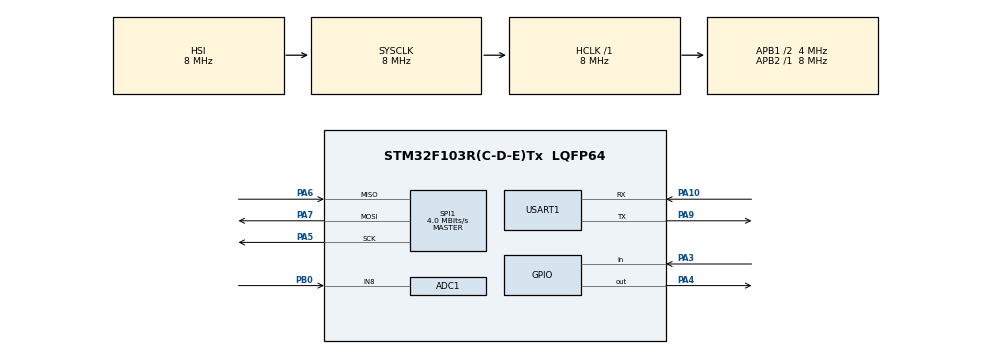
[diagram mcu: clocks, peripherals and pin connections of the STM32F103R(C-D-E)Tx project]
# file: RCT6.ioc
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ADC1.Channel-0\#ChannelRegularConversion=ADC_CHANNEL_8
ADC1.NbrOfConversionFlag=1
ADC1.Rank-0\#ChannelRegularConversion=1
ADC1.SamplingTime-0\#ChannelRegularConversion=ADC_SAMPLETIME_1CYCLE_5
ADC1.master=1
Mcu.Family=STM32F1
Mcu.Name=STM32F103R(C-D-E)Tx
Mcu.Package=LQFP64
NVIC.PriorityGroup=NVIC_PRIORITYGROUP_4
NVIC.SPI1_IRQn=true\:0\:0\:false\:false\:true\:true
PA10.Mode=Asynchronous
PA10.Signal=USART1_RX
PA13.Mode=Serial_Wire
PA13.Signal=SYS_JTMS-SWDIO
PA14.Mode=Serial_Wire
PA14.Signal=SYS_JTCK-SWCLK
PA3.GPIO_PuPd=GPIO_PULLUP
PA3.Signal=GPIO_Input
PA4.Signal=GPIO_Output
PA5.Mode=Full_Duplex_Master
PA5.Signal=SPI1_SCK
PA6.Mode=Full_Duplex_Master
PA6.Signal=SPI1_MISO
PA7.Mode=Full_Duplex_Master
PA7.Signal=SPI1_MOSI
PA9.Mode=Asynchronous
PA9.Signal=USART1_TX
PB0.Signal=ADCx_IN8
ProjectManager.HeapSize=0x200
ProjectManager.StackSize=0x400
ProjectManager.TargetToolchain=EWARM
RCC.ADCPresc=RCC_ADCPCLK2_DIV8
RCC.AHBFreq_Value=8000000
RCC.APB1CLKDivider=RCC_HCLK_DIV2
RCC.APB1Freq_Value=4000000
RCC.APB1TimFreq_Value=8000000
RCC.APB2Freq_Value=8000000
RCC.APB2TimFreq_Value=8000000
RCC.HCLKFreq_Value=8000000
RCC.PLLMUL=RCC_PLL_MUL16
RCC.SYSCLKFreq_VALUE=8000000
RCC.USBFreq_Value=64000000
SH.ADCx_IN8.0=ADC1_IN8,IN8
SPI1.BaudRatePrescaler=SPI_BAUDRATEPRESCALER_2
SPI1.CLKPhase=SPI_PHASE_2EDGE
SPI1.CLKPolarity=SPI_POLARITY_HIGH
SPI1.CalculateBaudRate=4.0 MBits/s
SPI1.Direction=SPI_DIRECTION_2LINES
SPI1.Mode=SPI_MODE_MASTER
SPI1.VirtualType=VM_MASTER
USART1.VirtualMode=VM_ASYNC
board=custom

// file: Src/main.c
/**
  ******************************************************************************
  * @file           : main.c
  * @brief          : Main program body
  ******************************************************************************
  ** This notice applies to any and all portions of this file
  * that are not between comment pairs USER CODE BEGIN and
  * USER CODE END. Other portions of this file, whether
  * inserted by the user or by software development tools
  * are owned by their respective copyright owners.
  *
  * COPYRIGHT(c) 2018 STMicroelectronics
  *
  * Redistribution and use in source and binary forms, with or without modification,
  * are permitted provided that the following conditions are met:
  *   1. Redistributions of source code must retain the above copyright notice,
  *      this list of conditions and the following disclaimer.
  *   2. Redistributions in binary form must reproduce the above copyright notice,
  *      this list of conditions and the following disclaimer in the documentation
  *      and/or other materials provided with the distribution.
  *   3. Neither the name of STMicroelectronics nor the names of its contributors
  *      may be used to endorse or promote products derived from this software
  *      without specific prior written permission.
  *
  * THIS SOFTWARE IS PROVIDED BY THE COPYRIGHT HOLDERS AND CONTRIBUTORS "AS IS"
  * AND ANY EXPRESS OR IMPLIED WARRANTIES, INCLUDING, BUT NOT LIMITED TO, THE
  * IMPLIED WARRANTIES OF MERCHANTABILITY AND FITNESS FOR A PARTICULAR PURPOSE ARE
  * DISCLAIMED. IN NO EVENT SHALL THE COPYRIGHT HOLDER OR CONTRIBUTORS BE LIABLE
  * FOR ANY DIRECT, INDIRECT, INCIDENTAL, SPECIAL, EXEMPLARY, OR CONSEQUENTIAL
  * DAMAGES (INCLUDING, BUT NOT LIMITED TO, PROCUREMENT OF SUBSTITUTE GOODS OR
  * SERVICES; LOSS OF USE, DATA, OR PROFITS; OR BUSINESS INTERRUPTION) HOWEVER
  * CAUSED AND ON ANY THEORY OF LIABILITY, WHETHER IN CONTRACT, STRICT LIABILITY,
  * OR TORT (INCLUDING NEGLIGENCE OR OTHERWISE) ARISING IN ANY WAY OUT OF THE USE
  * OF THIS SOFTWARE, EVEN IF ADVISED OF THE POSSIBILITY OF SUCH DAMAGE.
  *
  ******************************************************************************
  */
#include "main.h"
#include "stm32f1xx_hal.h"

/* USER CODE BEGIN Includes */
#define u8 uint8_t
#define u16 uint16_t
#define u32 uint32_t
#include "w5500.h"
#include "w5500_conf.h"
#include "socket.h"
#include "utility.h"
#include "dhcp.h"
/*app函数头文件*/
#include "tcp_demo.h"
/* USER CODE END Includes */

ADC_HandleTypeDef hadc1;

SPI_HandleTypeDef hspi1;

UART_HandleTypeDef huart1;

/* USER CODE BEGIN PV */
/* Private variables ---------------------------------------------------------*/

/* USER CODE END PV */

void SystemClock_Config(void);
static void MX_GPIO_Init(void);
static void MX_SPI1_Init(void);
static void MX_ADC1_Init(void);
static void MX_USART1_UART_Init(void);

/* USER CODE BEGIN PFP */
/* Private function prototypes -----------------------------------------------*/

/* USER CODE END PFP */

/* USER CODE BEGIN 0 */
int fputc(int ch, FILE *f)
{
	//HAL_UART_Transmit(&huart5, (uint8_t *)&ch, 1, 0xffff);
    while((USART1->SR&0X40)==0);
        USART1->DR = (uint8_t) ch;
	return ch;
}
/* USER CODE END 0 */

int main(void)
{

  /* MCU Configuration----------------------------------------------------------*/

  /* Reset of all peripherals, Initializes the Flash interface and the Systick. */
  HAL_Init();

  /* Configure the system clock */
  SystemClock_Config();

  /* Initialize all configured peripherals */
  MX_GPIO_Init();
  MX_SPI1_Init();
  MX_ADC1_Init();
  MX_USART1_UART_Init();
  /* USER CODE BEGIN 2 */
 // HAL_TIM_Base_Start_IT(&htim2);
 HAL_ADCEx_Calibration_Start(&hadc1);//ADC校准，不校准数值会有偏差
 float adcx=0;
  int i=0;
// float adcx=0;
 printf(" W5500网络通信测试 Demo V1.0 \r\n");
//
	//gpio_for_w5500_config();						/*初始化MCU相关引脚*/
        reset_w5500();                     /* W5500硬件复位 */
	set_w5500_mac();										/*配置MAC地址*/
	set_w5500_ip();											/*配置IP地址*/

	socket_buf_init(txsize, rxsize);		/*初始化8个Socket的发送接收缓存大小*/
    //     while(dhcp_ok==0)
//	do_dhcp();
        printf(" 电脑作为TCP服务器,让W5500作为 TCP客户端去连接 \n");
	printf(" 服务器IP:%d.%d.%d.%d\n",remote_ip[0],remote_ip[1],remote_ip[2],remote_ip[3]);
	printf(" 监听端口:%d \n",remote_port);
	printf(" 连接成功后，服务器发送数据给W5500，W5500将返回对应数据 \n");
	printf(" 应用程序执行中……\n");
  /* USER CODE END 2 */

  /* Infinite loop */
  while (1)
  {
     do_tcp_client();                  /*TCP_Client 数据回环测试程序*/
  }

}

void SystemClock_Config(void)
{

  RCC_OscInitTypeDef RCC_OscInitStruct;
  RCC_ClkInitTypeDef RCC_ClkInitStruct;
  RCC_PeriphCLKInitTypeDef PeriphClkInit;

    /**Initializes the CPU, AHB and APB busses clocks
    */
  RCC_OscInitStruct.OscillatorType = RCC_OSCILLATORTYPE_HSI;
  RCC_OscInitStruct.HSIState = RCC_HSI_ON;
  RCC_OscInitStruct.HSICalibrationValue = 16;
  RCC_OscInitStruct.PLL.PLLState = RCC_PLL_NONE;
  if (HAL_RCC_OscConfig(&RCC_OscInitStruct) != HAL_OK)
  {
    _Error_Handler(__FILE__, __LINE__);
  }

    /**Initializes the CPU, AHB and APB busses clocks
    */
  RCC_ClkInitStruct.ClockType = RCC_CLOCKTYPE_HCLK|RCC_CLOCKTYPE_SYSCLK
                              |RCC_CLOCKTYPE_PCLK1|RCC_CLOCKTYPE_PCLK2;
  RCC_ClkInitStruct.SYSCLKSource = RCC_SYSCLKSOURCE_HSI;
  RCC_ClkInitStruct.AHBCLKDivider = RCC_SYSCLK_DIV1;
  RCC_ClkInitStruct.APB1CLKDivider = RCC_HCLK_DIV2;
  RCC_ClkInitStruct.APB2CLKDivider = RCC_HCLK_DIV1;

  if (HAL_RCC_ClockConfig(&RCC_ClkInitStruct, FLASH_LATENCY_0) != HAL_OK)
  {
    _Error_Handler(__FILE__, __LINE__);
  }

  PeriphClkInit.PeriphClockSelection = RCC_PERIPHCLK_ADC;
  PeriphClkInit.AdcClockSelection = RCC_ADCPCLK2_DIV8;
  if (HAL_RCCEx_PeriphCLKConfig(&PeriphClkInit) != HAL_OK)
  {
    _Error_Handler(__FILE__, __LINE__);
  }

    /**Configure the Systick interrupt time
    */
  HAL_SYSTICK_Config(HAL_RCC_GetHCLKFreq()/1000);

    /**Configure the Systick
    */
  HAL_SYSTICK_CLKSourceConfig(SYSTICK_CLKSOURCE_HCLK);

  /* SysTick_IRQn interrupt configuration */
  HAL_NVIC_SetPriority(SysTick_IRQn, 0, 0);
}

/* ADC1 init function */
static void MX_ADC1_Init(void)
{

  ADC_ChannelConfTypeDef sConfig;

    /**Common config
    */
  hadc1.Instance = ADC1;
  hadc1.Init.ScanConvMode = ADC_SCAN_DISABLE;
  hadc1.Init.ContinuousConvMode = DISABLE;
  hadc1.Init.DiscontinuousConvMode = DISABLE;
  hadc1.Init.ExternalTrigConv = ADC_SOFTWARE_START;
  hadc1.Init.DataAlign = ADC_DATAALIGN_RIGHT;
  hadc1.Init.NbrOfConversion = 1;
  if (HAL_ADC_Init(&hadc1) != HAL_OK)
  {
    _Error_Handler(__FILE__, __LINE__);
  }

    /**Configure Regular Channel
    */
  sConfig.Channel = ADC_CHANNEL_8;
  sConfig.Rank = ADC_REGULAR_RANK_1;
  sConfig.SamplingTime = ADC_SAMPLETIME_1CYCLE_5;
  if (HAL_ADC_ConfigChannel(&hadc1, &sConfig) != HAL_OK)
  {
    _Error_Handler(__FILE__, __LINE__);
  }

}

/* SPI1 init function */
static void MX_SPI1_Init(void)
{

  /* SPI1 parameter configuration*/
  hspi1.Instance = SPI1;
  hspi1.Init.Mode = SPI_MODE_MASTER;
  hspi1.Init.Direction = SPI_DIRECTION_2LINES;
  hspi1.Init.DataSize = SPI_DATASIZE_8BIT;
  hspi1.Init.CLKPolarity = SPI_POLARITY_HIGH;
  hspi1.Init.CLKPhase = SPI_PHASE_2EDGE;
  hspi1.Init.NSS = SPI_NSS_SOFT;
  hspi1.Init.BaudRatePrescaler = SPI_BAUDRATEPRESCALER_2;
  hspi1.Init.FirstBit = SPI_FIRSTBIT_MSB;
  hspi1.Init.TIMode = SPI_TIMODE_DISABLE;
  hspi1.Init.CRCCalculation = SPI_CRCCALCULATION_DISABLE;
  hspi1.Init.CRCPolynomial = 10;
  if (HAL_SPI_Init(&hspi1) != HAL_OK)
  {
    _Error_Handler(__FILE__, __LINE__);
  }

}

/* USART1 init function */
static void MX_USART1_UART_Init(void)
{

  huart1.Instance = USART1;
  huart1.Init.BaudRate = 115200;
  huart1.Init.WordLength = UART_WORDLENGTH_8B;
  huart1.Init.StopBits = UART_STOPBITS_1;
  huart1.Init.Parity = UART_PARITY_NONE;
  huart1.Init.Mode = UART_MODE_TX_RX;
  huart1.Init.HwFlowCtl = UART_HWCONTROL_NONE;
  huart1.Init.OverSampling = UART_OVERSAMPLING_16;
  if (HAL_UART_Init(&huart1) != HAL_OK)
  {
    _Error_Handler(__FILE__, __LINE__);
  }

}

/** Configure pins as
        * Analog
        * Input
        * Output
        * EVENT_OUT
        * EXTI
*/
static void MX_GPIO_Init(void)
{

  GPIO_InitTypeDef GPIO_InitStruct;

  /* GPIO Ports Clock Enable */
  __HAL_RCC_GPIOA_CLK_ENABLE();
  __HAL_RCC_GPIOB_CLK_ENABLE();

  /*Configure GPIO pin Output Level */
  HAL_GPIO_WritePin(GPIOA, GPIO_PIN_4, GPIO_PIN_RESET);

  /*Configure GPIO pin : PA3 */
  GPIO_InitStruct.Pin = GPIO_PIN_3;
  GPIO_InitStruct.Mode = GPIO_MODE_INPUT;
  GPIO_InitStruct.Pull = GPIO_PULLUP;
  HAL_GPIO_Init(GPIOA, &GPIO_InitStruct);

  /*Configure GPIO pin : PA4 */
  GPIO_InitStruct.Pin = GPIO_PIN_4;
  GPIO_InitStruct.Mode = GPIO_MODE_OUTPUT_PP;
  GPIO_InitStruct.Pull = GPIO_NOPULL;
  GPIO_InitStruct.Speed = GPIO_SPEED_FREQ_LOW;
  HAL_GPIO_Init(GPIOA, &GPIO_InitStruct);

}

void _Error_Handler(char *file, int line)
{
  while(1)
  {
  }
}

/************************ (C) COPYRIGHT STMicroelectronics *****END OF FILE****/
